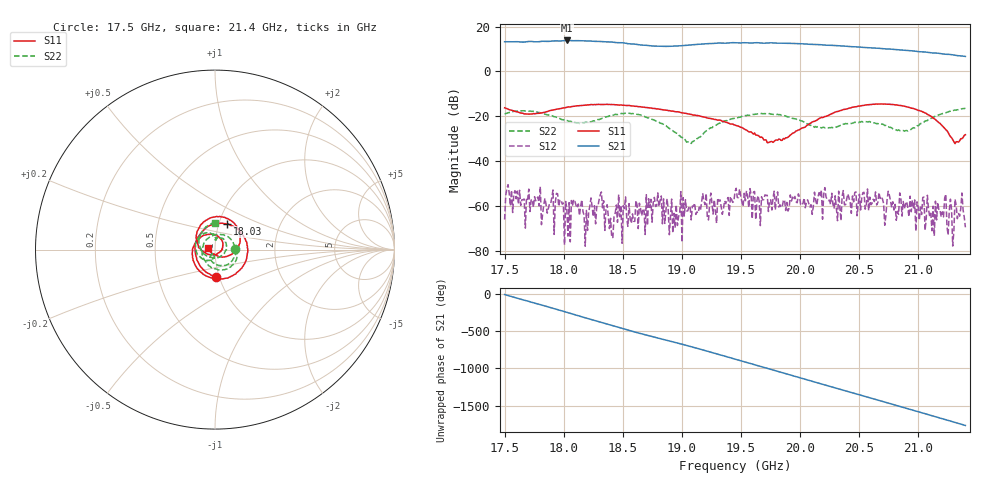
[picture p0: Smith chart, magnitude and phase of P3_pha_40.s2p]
!Created with skrf (http://scikit-rf.org).
# GHz S RI R 50.0
!freq ReS11 ImS11 ReS21 ImS21 ReS12 ImS12 ReS22 ImS22
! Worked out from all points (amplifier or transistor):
!   401 points, 17.5 GHz to 21.4 GHz, reference 50 ohm
!   highest |S21| = 13.8 dB at 18.03 GHz (marker M1)
!   |S21| within 3 dB of that: start of sweep to 20.51 GHz
!   unconditionally stable (mu >= 1): start of sweep to end of sweep
!   at 18.14 GHz: K = 102.84, MAG = 13.8 dB, |S12| = -60.2 dB
!   at 19.45 GHz: K = 55.36, MAG = 12.8 dB, |S12| = -53.8 dB
!   at 21.4 GHz: K = 684.79, MAG = 6.8 dB, |S12| = -69.6 dB
!   S11 on the Smith chart (normalised r, x): 17.5 GHz: 0.97, -0.30; 18.03 GHz: 1.09, +0.32; 21.4 GHz: 0.93, +0.01
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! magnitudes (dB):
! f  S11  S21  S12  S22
! 17.5 GHz  -16.3  13.2  -66.2  -19.1
! 17.54 GHz  -17.1  13.2  -54.5  -18.4
! 17.83 GHz  -18.3  13.4  -59.6  -18.8
! 17.96 GHz  -16.8  13.6  -60.3  -21.1
! 18.03 GHz  -16.0  13.8  -61.2  -21.9
! 18.09 GHz  -15.6  13.7  -57.2  -22.6
! 18.15 GHz  -15.2  13.7  -57.3  -23.1
! 18.19 GHz  -15.1  13.6  -62.1  -22.7
! 18.32 GHz  -14.8  13.3  -53.9  -21.1
! 18.41 GHz  -14.8  13.1  -74.3  -19.6
! 18.47 GHz  -15.0  12.8  -55.0  -19.1
! 18.58 GHz  -15.4  12.2  -63.6  -18.8
! 18.81 GHz  -16.9  11.3  -60.4  -22.7
! 18.94 GHz  -17.9  11.3  -69.8  -27.3
! 19.06 GHz  -19.0  11.7  -60.6  -31.5
! 19.45 GHz  -24.0  12.8  -53.8  -20.8
! 19.74 GHz  -31.6  12.7  -57.8  -18.8
! 20.1 GHz  -22.6  12.1  -63.8  -24.5
! 20.76 GHz  -14.7  10.0  -55.3  -25.0
! 21.12 GHz  -20.3  8.2  -71.2  -20.7
! 21.36 GHz  -30.1  6.9  -61.2  -16.9
! 21.4 GHz  -28.3  6.7  -69.6  -16.5
